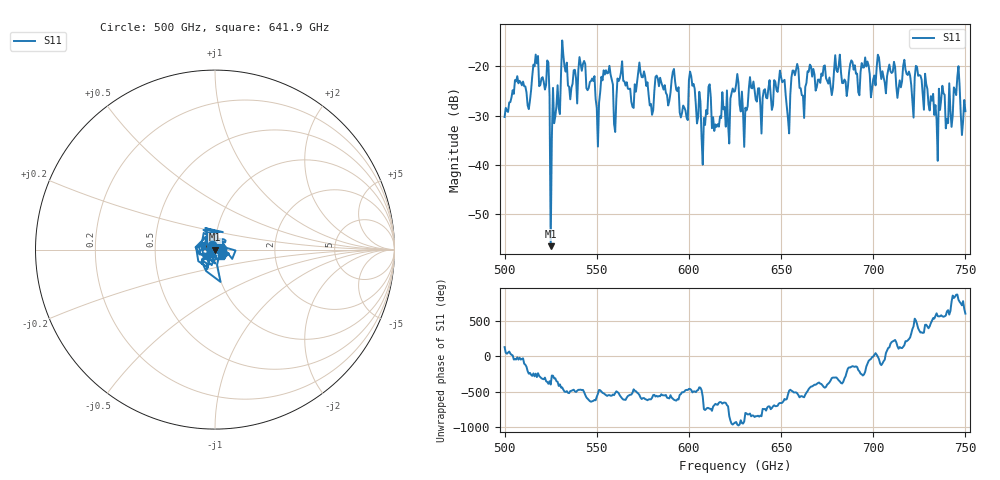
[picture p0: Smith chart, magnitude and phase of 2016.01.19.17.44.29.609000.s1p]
!Created with skrf (http://scikit-rf.org).
# GHz S RI R 50.0
!freq ReS11 ImS11
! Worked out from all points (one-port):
!   401 points, 500 GHz to 750 GHz, reference 50 ohm
!   lowest |S11| = -56.4 dB at 525 GHz (marker M1), VSWR 1.00, Z = 50.1 - j0.0959 ohm
!   |S11| at or under -10 dB: start of sweep to end of sweep
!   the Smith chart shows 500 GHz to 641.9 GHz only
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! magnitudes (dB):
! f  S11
! 500 GHz  -30.3
! 506.9 GHz  -22.0
! 513.1 GHz  -28.7
! 516.9 GHz  -17.6
! 523.1 GHz  -18.8
! 525 GHz  -56.4
! 526.2 GHz  -24.4
! 531.2 GHz  -14.8
! 541.9 GHz  -20.9
! 550.6 GHz  -36.3
! 562.5 GHz  -22.4
! 593.8 GHz  -25.0
! 598.1 GHz  -28.9
! 601.2 GHz  -22.0
! 608.1 GHz  -30.5
! 610.6 GHz  -24.1
! 615 GHz  -32.3
! 625 GHz  -25.0
! 630.6 GHz  -28.4
! 633.8 GHz  -24.4
! 650.6 GHz  -23.2
! 653.8 GHz  -30.6
! 656.2 GHz  -20.9
! 687.5 GHz  -19.6
! 718.8 GHz  -21.8
! 733.8 GHz  -27.9
! 745 GHz  -25.8
! 750 GHz  -29.1
